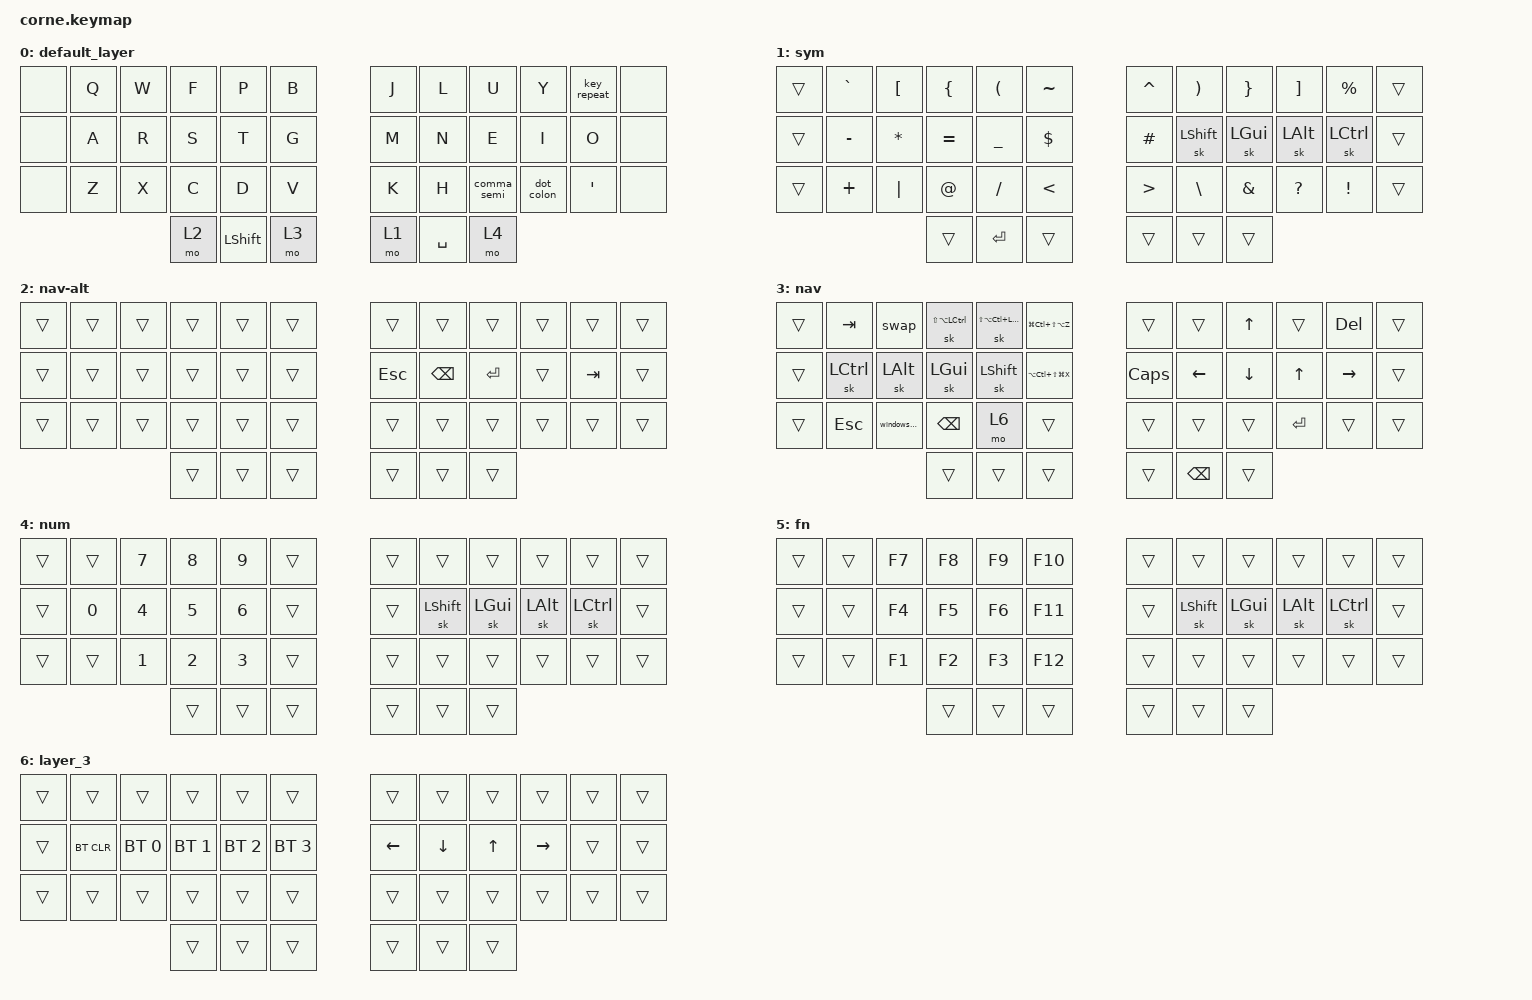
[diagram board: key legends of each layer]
/*
 * Copyright (c) 2020 The ZMK Contributors
 *
 * SPDX-License-Identifier: MIT
 */

#include <behaviors.dtsi>
#include <dt-bindings/zmk/bt.h>
#include <dt-bindings/zmk/keys.h>

/ {
    behaviors {
        // For the "layer" key, it'd nice to be able to use it as either a shift or a toggle.
        // Configure it as a tap dance, so the first tap (or hold) is a &mo and the second tap is a &to

        layer_td: tap_dance_0 {
            compatible = "zmk,behavior-tap-dance";
            label = "LAYER_TAP_DANCE";
            #binding-cells = <0>;
            tapping-term-ms = <200>;
            bindings = <&mo 0>, <&to 0>;
        };

        comma_semi: comma_semi {
            compatible = "zmk,behavior-mod-morph";
            label = "COMMA_SEMI";
            bindings = <&kp COMMA>, <&kp SEMICOLON>;

            #binding-cells = <0>;
            mods = <(MOD_LSFT)>;
        };

        dot_colon: dot_colon {
            compatible = "zmk,behavior-mod-morph";
            label = "DOT_COLON";
            bindings = <&kp PERIOD>, <&kp COLON>;

            #binding-cells = <0>;
            mods = <(MOD_LSFT|MOD_RSFT)>;
        };

        windowswap: windowswap {
            compatible = "zmk,behavior-smart-toggle";
            label = "WINDOWSWAP";
            #binding-cells = <0>;
            bindings = <&kt LGUI>, <&kp GRAVE>, <&kt LGUI>;

            ignored-key-positions = <1>;
        };

        swap: swapper {
            compatible = "zmk,behavior-smart-toggle";
            label = "SWAPPER";
            #binding-cells = <0>;
            bindings = <&kt LGUI>, <&kp TAB>, <&kt LGUI>;

            ignored-key-positions = <1>;
        };
    };

    combos {
        compatible = "zmk,combos";

        lessthan {
            bindings = <&kp LESS_THAN>;
            key-positions = <14 15>;
            require-prior-idle-ms = <150>;
            timeout-ms = <30>;
        };

        greaterthan {
            bindings = <&kp GREATER_THAN>;
            key-positions = <15 16>;
            require-prior-idle-ms = <150>;
            timeout-ms = <30>;
        };

        lbrac {
            bindings = <&kp LEFT_BRACKET>;
            key-positions = <26 27>;
            require-prior-idle-ms = <150>;
            timeout-ms = <30>;
        };

        rbrac {
            bindings = <&kp RIGHT_BRACKET>;
            key-positions = <27 28>;
            require-prior-idle-ms = <150>;
            timeout-ms = <30>;
        };

        lpar {
            bindings = <&kp LEFT_PARENTHESIS>;
            key-positions = <19 20>;
            timeout-ms = <30>;
            require-prior-idle-ms = <150>;
        };

        rpar {
            bindings = <&kp RIGHT_PARENTHESIS>;
            key-positions = <20 21>;
            timeout-ms = <30>;
            require-prior-idle-ms = <150>;
        };

        lbrace {
            bindings = <&kp LEFT_BRACE>;
            key-positions = <32 31>;
            timeout-ms = <30>;
            require-prior-idle-ms = <150>;
        };

        rbrace {
            bindings = <&kp RIGHT_BRACE>;
            key-positions = <32 33>;
            timeout-ms = <30>;
            require-prior-idle-ms = <150>;
        };
    };

    keymap {
        compatible = "zmk,keymap";

        default_layer {
            // -----------------------------------------------------------------------------------------
            // |  TAB |  Q  |  W  |  E  |  R  |  T  |   |  Y  |  U   |  I  |  O  |  P  | BSPC |
            // | CTRL |  A  |  S  |  D  |  F  |  G  |   |  H  |  J   |  K  |  L  |  ;  |  '   |
            // | SHFT |  Z  |  X  |  C  |  V  |  B  |   |  N  |  M   |  ,  |  .  |  /  | ESC  |
            //                    | GUI | LWR | SPC |   | ENT | RSE  | ALT |

            bindings = <
&none  &kp Q  &kp W  &kp F  &kp P           &kp B    &kp J  &kp L      &kp U        &kp Y       &key_repeat       &none
&none  &kp A  &kp R  &kp S  &kp T           &kp G    &kp M  &kp N      &kp E        &kp I       &kp O             &none
&none  &kp Z  &kp X  &kp C  &kp D           &kp V    &kp K  &kp H      &comma_semi  &dot_colon  &kp SINGLE_QUOTE  &none
                     &mo 2  &kp LEFT_SHIFT  &mo 3    &mo 1  &kp SPACE  &mo 4
            >;
        };

        sym {
            // -----------------------------------------------------------------------------------------
            // |  TAB |  1  |  2  |  3  |  4  |  5  |   |  6  |  7  |  8  |  9  |  0  | BSPC |
            // | BTCLR| BT1 | BT2 | BT3 | BT4 | BT5 |   | LFT | DWN |  UP | RGT |     |      |
            // | SHFT |     |     |     |     |     |   |     |     |     |     |     |      |
            //                    | GUI |     | SPC |   | ENT |     | ALT |

            bindings = <
&trans  &kp GRAVE  &kp LBKT      &kp LEFT_BRACE  &kp LEFT_PARENTHESIS  &kp TILDE        &kp CARET         &kp RIGHT_PARENTHESIS  &kp RIGHT_BRACE  &kp RIGHT_BRACKET  &kp PERCENT      &trans
&trans  &kp MINUS  &kp ASTERISK  &kp EQUAL       &kp UNDERSCORE        &kp DOLLAR       &kp HASH          &sk LSHFT              &sk LGUI         &sk LALT           &sk LCTRL        &trans
&trans  &kp PLUS   &kp PIPE      &kp AT          &kp SLASH             &kp LESS_THAN    &kp GREATER_THAN  &kp BACKSLASH          &kp AMPERSAND    &kp QUESTION       &kp EXCLAMATION  &trans
                                 &trans          &kp ENTER             &trans           &trans            &trans                 &trans
            >;
        };

        nav-alt {
            bindings = <
&trans  &trans  &trans  &trans  &trans  &trans    &trans      &trans         &trans     &trans  &trans   &trans
&trans  &trans  &trans  &trans  &trans  &trans    &kp ESCAPE  &kp BACKSPACE  &kp ENTER  &trans  &kp TAB  &trans
&trans  &trans  &trans  &trans  &trans  &trans    &trans      &trans         &trans     &trans  &trans   &trans
                        &trans  &trans  &trans    &trans      &trans         &trans
            >;
        };

        nav {
            // -----------------------------------------------------------------------------------------
            // |  TAB |  !  |  @  |  #  |  $  |  %  |   |  ^  |  &  |  *  |  (  |  )  | BSPC |
            // | CTRL |     |     |     |     |     |   |  -  |  =  |  [  |  ]  |  \  |  `   |
            // | SHFT |     |     |     |     |     |   |  _  |  +  |  {  |  }  | "|" |  ~   |
            //                    | GUI |     | SPC |   | ENT |     | ALT |

            bindings = <
&trans  &kp TAB    &swap        &sk LS(LA(LCTRL))  &sk LS(LA(LC(LGUI)))  &kp LG(LC(LS(LA(Z))))    &trans    &trans         &kp UP    &trans        &kp DEL    &trans
&trans  &sk LCTRL  &sk LALT     &sk LGUI           &sk LSHFT             &kp LA(LC(LS(LG(X))))    &kp CAPS  &kp LEFT       &kp DOWN  &kp UP_ARROW  &kp RIGHT  &trans
&trans  &kp ESC    &windowswap  &kp BACKSPACE      &mo 6                 &trans                   &trans    &trans         &trans    &kp RET       &trans     &trans
                                &trans             &trans                &trans                   &trans    &kp BACKSPACE  &trans
            >;
        };

        num {
            bindings = <
&trans  &trans  &kp N7  &kp N8  &kp N9  &trans    &trans  &trans     &trans    &trans    &trans     &trans
&trans  &kp N0  &kp N4  &kp N5  &kp N6  &trans    &trans  &sk LSHFT  &sk LGUI  &sk LALT  &sk LCTRL  &trans
&trans  &trans  &kp N1  &kp N2  &kp N3  &trans    &trans  &trans     &trans    &trans    &trans     &trans
                        &trans  &trans  &trans    &trans  &trans     &trans
            >;
        };

        fn {
            bindings = <
&trans  &trans  &kp F7  &kp F8  &kp F9  &kp F10    &trans  &trans     &trans    &trans    &trans     &trans
&trans  &trans  &kp F4  &kp F5  &kp F6  &kp F11    &trans  &sk LSHFT  &sk LGUI  &sk LALT  &sk LCTRL  &trans
&trans  &trans  &kp F1  &kp F2  &kp F3  &kp F12    &trans  &trans     &trans    &trans    &trans     &trans
                        &trans  &trans  &trans     &trans  &trans     &trans
            >;
        };

        layer_3 {
            bindings = <
&trans  &trans      &trans        &trans        &trans        &trans          &trans    &trans    &trans  &trans     &trans  &trans
&trans  &bt BT_CLR  &bt BT_SEL 0  &bt BT_SEL 1  &bt BT_SEL 2  &bt BT_SEL 3    &kp LEFT  &kp DOWN  &kp UP  &kp RIGHT  &trans  &trans
&trans  &trans      &trans        &trans        &trans        &trans          &trans    &trans    &trans  &trans     &trans  &trans
                                  &trans        &trans        &trans          &trans    &trans    &trans
            >;
        };
    };

    conditional_layers {
        compatible = "zmk,conditional-layers";

        fn {
            if-layers = <1 3>;
            then-layer = <5>;
        };
    };
};
